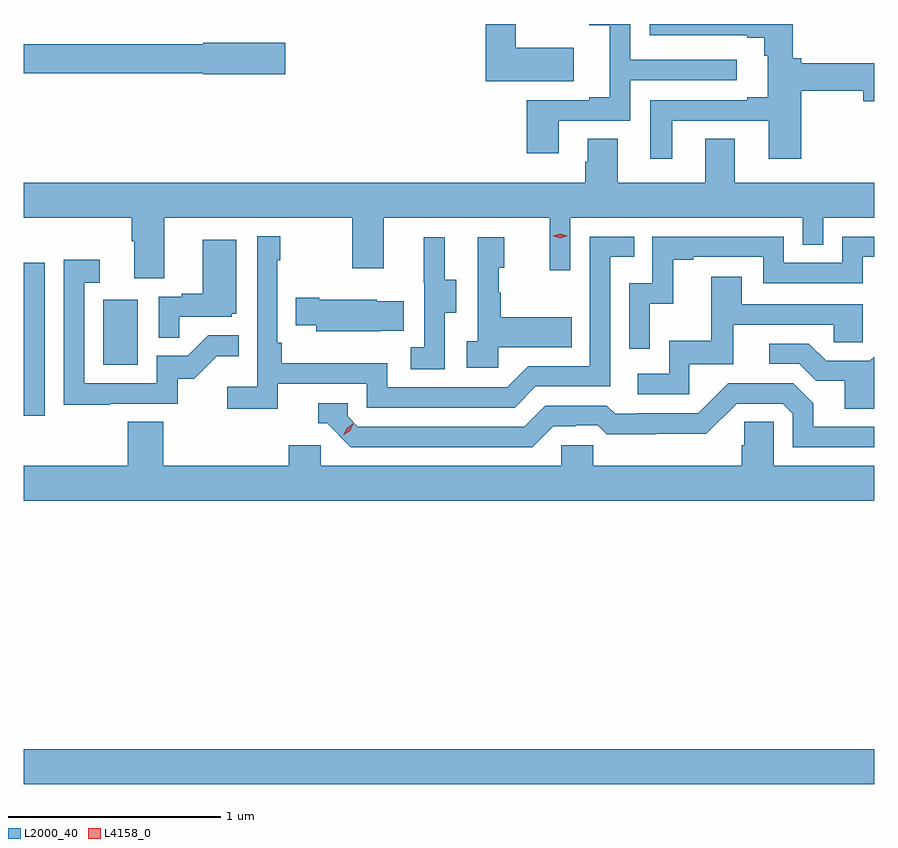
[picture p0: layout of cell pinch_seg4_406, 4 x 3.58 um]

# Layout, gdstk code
import gdstk
lib = gdstk.Library(unit=1e-6, precision=1e-09)
def R(c, l, rs):  # rectangles x0, y0, x1, y1
    for r in rs: c.add(gdstk.rectangle(r[:2], r[2:], *l))
def P(c, l, *ps):  # polygons
    for p in ps: c.add(gdstk.Polygon(p, *l))
L2000_40 = (2000, 40)
L4158_0 = (4158, 0)

pinch_seg4_406 = lib.new_cell('pinch_seg4_406')
R(pinch_seg4_406, L2000_40, [(996.559,787.496,1000.559,787.66), (996.559,789.228,996.658,789.949), (996.932,789.468,997.096,789.775)])
P(pinch_seg4_406, L2000_40, [(999.61,790.617),(1000.064,790.617),(1000.064,790.437),(1000.217,790.437),(1000.217,790.758),(1000.508,790.758),(1000.508,790.708),(1000.559,790.708),(1000.559,790.886),(1000.217,790.886),(1000.217,790.91),(1000.177,790.91),(1000.177,791.071),(999.503,791.071),(999.503,791.019),(999.962,791.019),(999.962,791.007),(1000.041,791.007),(1000.041,790.922),(1000.058,790.922),(1000.058,790.726),(999.962,790.726),(999.962,790.713),(999.506,790.713),(999.506,790.437),(999.61,790.437)],
  [(999.076,790.617),(999.411,790.617),(999.411,790.806),(999.913,790.806),(999.913,790.902),(999.411,790.902),(999.411,791.071),(999.218,791.071),(999.218,791.064),(999.314,791.064),(999.314,790.726),(999.218,790.726),(999.218,790.713),(998.924,790.713),(998.924,790.464),(999.076,790.464)],
  [(999.145,790.96),(998.872,790.96),(998.872,791.071),(998.732,791.071),(998.732,790.802),(999.145,790.802)],
  [(997.789,790.982),(997.404,790.982),(997.404,790.976),(996.559,790.976),(996.559,790.84),(997.404,790.84),(997.404,790.835),(997.789,790.835)],
  [(999.904,790.532),(999.764,790.532),(999.764,790.324),(999.352,790.324),(999.352,790.532),(999.212,790.532),(999.212,790.422),(999.2,790.422),(999.2,790.324),(996.559,790.324),(996.559,790.16),(997.067,790.16),(997.067,790.048),(997.079,790.048),(997.079,789.874),(997.219,789.874),(997.219,790.16),(998.104,790.16),(998.104,789.921),(998.251,789.921),(998.251,790.16),(999.032,790.16),(999.032,789.912),(999.129,789.912),(999.129,790.16),(1000.224,790.16),(1000.224,790.033),(1000.32,790.033),(1000.32,790.16),(1000.559,790.16),(1000.559,790.324),(999.904,790.324)],
  [(997.754,789.378),(998.172,789.378),(998.172,789.267),(998.869,789.267),(998.968,789.366),(999.318,789.366),(999.318,789.975),(999.431,789.975),(999.431,790.071),(999.222,790.071),(999.222,789.462),(998.931,789.462),(998.832,789.363),(998.268,789.363),(998.268,789.475),(997.772,789.475),(997.772,789.571),(997.752,789.571),(997.752,789.959),(997.765,789.959),(997.765,790.072),(997.656,790.072),(997.656,789.364),(997.515,789.364),(997.515,789.262),(997.754,789.262)],
  [(999.504,789.755),(999.614,789.755),(999.614,789.963),(999.709,789.963),(999.709,789.975),(1000.038,789.975),(1000.038,789.852),(1000.506,789.852),(1000.506,789.975),(1000.559,789.975),(1000.559,790.071),(1000.41,790.071),(1000.41,789.948),(1000.134,789.948),(1000.134,790.071),(999.516,790.071),(999.516,789.852),(999.408,789.852),(999.408,789.543),(999.504,789.543)],
  [(998.79,789.551),(999.137,789.551),(999.137,789.691),(998.803,789.691),(998.803,789.806),(998.793,789.806),(998.793,789.924),(998.818,789.924),(998.818,790.069),(998.694,790.069),(998.694,789.578),(998.643,789.578),(998.643,789.453),(998.79,789.453)],
  [(998.538,789.712),(998.593,789.712),(998.593,789.867),(998.539,789.867),(998.539,790.069),(998.441,790.069),(998.441,789.855),(998.442,789.855),(998.442,789.551),(998.379,789.551),(998.379,789.448),(998.538,789.448)],
  [(997.289,789.693),(997.536,789.693),(997.536,789.708),(997.558,789.708),(997.558,790.057),(997.4,790.057),(997.4,789.802),(997.301,789.802),(997.301,789.789),(997.194,789.789),(997.194,789.595),(997.289,789.595)],
  [(996.965,789.285),(997.284,789.285),(997.284,789.402),(997.36,789.402),(997.467,789.509),(997.571,789.509),(997.571,789.608),(997.427,789.608),(997.329,789.51),(997.185,789.51),(997.185,789.381),(996.843,789.381),(996.843,789.855),(996.916,789.855),(996.916,789.961),(996.747,789.961),(996.747,789.28),(996.965,789.28)],
  [(999.69,789.471),(999.895,789.471),(999.895,789.657),(1000.369,789.657),(1000.369,789.573),(1000.506,789.573),(1000.506,789.753),(999.937,789.753),(999.937,789.883),(999.793,789.883),(999.793,789.58),(999.594,789.58),(999.594,789.426),(999.447,789.426),(999.447,789.33),(999.69,789.33)],
  [(998.237,789.629),(998.345,789.629),(998.345,789.766),(998.22,789.766),(998.22,789.775),(997.948,789.775),(997.948,789.783),(997.837,789.783),(997.837,789.653),(997.935,789.653),(997.935,789.626),(998.237,789.626)],
  [(1000.559,789.506),(1000.539,789.486),(1000.333,789.486),(1000.252,789.567),(1000.065,789.567),(1000.065,789.474),(1000.206,789.474),(1000.286,789.394),(1000.421,789.394),(1000.421,789.262),(1000.559,789.262)],
  [(999.049,789.18),(999.156,789.18),(999.156,789.183),(999.259,789.183),(999.301,789.141),(999.534,789.141),(999.534,789.143),(999.77,789.143),(999.912,789.285),(1000.128,789.285),(1000.176,789.237),(1000.176,789.081),(1000.559,789.081),(1000.559,789.177),(1000.273,789.177),(1000.273,789.287),(1000.179,789.381),(999.873,789.381),(999.732,789.24),(999.439,789.24),(999.439,789.237),(999.34,789.237),(999.301,789.276),(999.012,789.276),(998.913,789.177),(998.13,789.177),(998.082,789.225),(998.082,789.288),(997.943,789.288),(997.943,789.192),(997.986,789.192),(998.097,789.081),(998.95,789.081)],
  [(1000.559,788.992),(1000.086,788.992),(1000.086,789.2),(999.949,789.2),(999.949,789.09),(999.935,789.09),(999.935,788.992),(999.237,788.992),(999.237,789.09),(999.087,789.09),(999.087,788.992),(997.956,788.992),(997.956,789.09),(997.805,789.09),(997.805,788.992),(997.214,788.992),(997.214,789.2),(997.049,789.2),(997.049,788.992),(996.559,788.992),(996.559,788.828),(1000.559,788.828)])
P(pinch_seg4_406, L4158_0, [(999.082,790.064),(999.046,790.074),(999.046,790.074),(999.046,790.074),(999.082,790.084),(999.118,790.074),(999.118,790.074),(999.118,790.074)],
  [(998.061,789.137),(998.061,789.137),(998.077,789.17),(998.107,789.19),(998.108,789.19),(998.108,789.189),(998.092,789.157),(998.061,789.137)])

lib.write_gds('pinch_seg4_406.gds')
